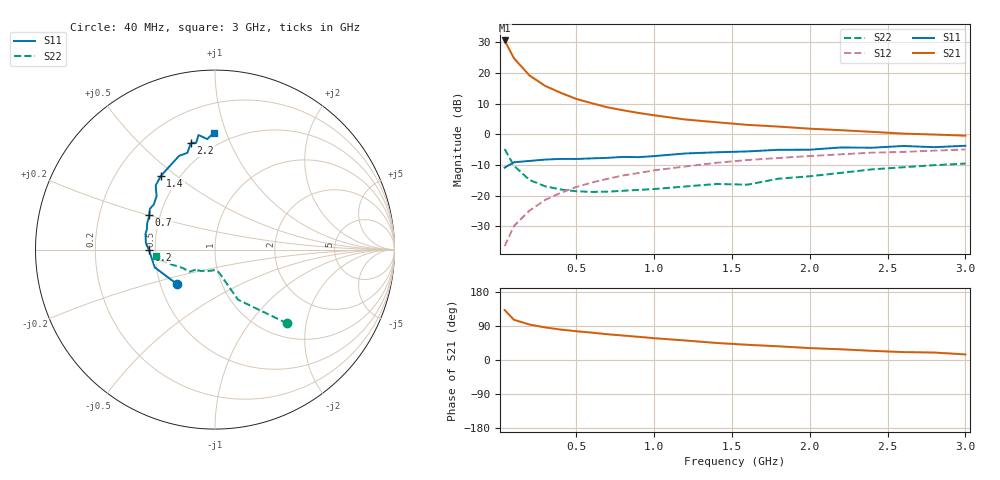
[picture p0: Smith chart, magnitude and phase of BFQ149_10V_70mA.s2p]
! Filename:  BFQ149H.S2P  Version:  2.0
! Philips part #: BFQ149  Date: Aug 1990
! Bias condition: Vce=-10V, Ic=-70mA
#  MHz  S  MA  R  50
! Freq  S11  S21  S12  S22  !GUM [dB]
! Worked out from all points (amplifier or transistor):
!   21 points, 40 MHz to 3 GHz, reference 50 ohm
!   highest |S21| = 30.6 dB at 40 MHz (marker M1)
!   |S21| within 3 dB of that: start of sweep to 70.95 MHz
!   unconditionally stable (mu >= 1): 161.1 MHz to 1.174 GHz
!   at 300 MHz: K = 1.03, MAG = 17.5 dB, |S12| = -21.4 dB
!   at 1 GHz: K = 1.02, MAG = 8.0 dB, |S12| = -11.8 dB
!   at 3 GHz: K = 0.91, MSG = 2.3 dB, |S12| = -4.9 dB
!   S11 on the Smith chart (normalised r, x): 40 MHz: 0.61, -0.26; 200 MHz: 0.46, -0.00; 700 MHz: 0.44, +0.20; 1.4 GHz: 0.40, +0.44; 2.2 GHz: 0.38, +0.73; 3 GHz: 0.40, +0.90
40  0.286 -137.8  33.89 131.9  0.015 75.2  0.576 -45.6
100  0.35 -163.5  17.35 106.1  0.032 76.3  0.307 -65.3
200  0.368 -179.7  9.099 93.6  0.057 77.9  0.18 -72.8
300  0.387 174.5  6.167 86.0  0.085 77.7  0.142 -77.4
400  0.397 167.3  4.752 80.3  0.111 76.2  0.126 -81.4
500  0.396 163.4  3.775 75.9  0.138 75.5  0.118 -86.0
600  0.405 159.0  3.211 72.2  0.163 73.3  0.115 -91.6
700  0.413 152.5  2.758 68.0  0.188 72.0  0.116 -95.9
800  0.428 148.0  2.468 64.6  0.213 70.3  0.12 -101.3
900  0.424 143.6  2.23 61.2  0.234 68.3  0.124 -107.1
1000  0.441 137.6  2.042 57.5  0.258 66.6  0.128 -113.0
1200  0.487 132.7  1.744 51.5  0.298 63.5  0.141 -122.1
1400  0.509 126.4  1.573 45.0  0.343 60.9  0.155 -133.5
1600  0.526 119.5  1.425 40.1  0.381 56.7  0.151 -133.1
1800  0.559 111.0  1.336 36.1  0.411 54.7  0.189 -139.1
2000  0.561 105.9  1.235 31.4  0.442 52.3  0.207 -150.4
2200  0.61 102.7  1.167 28.3  0.472 50.1  0.235 -157.2
2400  0.604 100.0  1.096 24.2  0.502 47.4  0.268 -162.9
2600  0.645 98.2  1.027 20.9  0.516 44.9  0.29 -166.4
2800  0.617 94.0  0.991 19.7  0.541 43.2  0.314 -169.3
3000  0.65 90.7  0.951 14.7  0.566 40.3  0.333 -174.2
